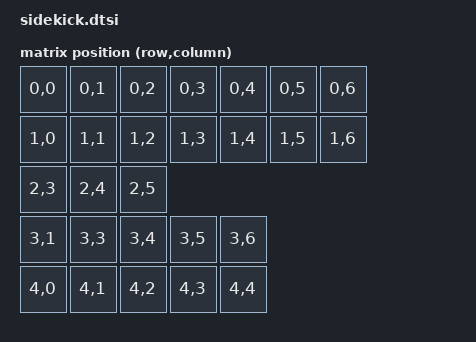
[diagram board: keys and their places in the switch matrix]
#include <dt-bindings/zmk/matrix_transform.h> // Put this with the other includes at the top of your overlay
#include "sidekick-layouts.dtsi"

&physical_layout0 {
    kscan = <&kscan0>;
    transform = <&default_transform>;
};

/ {
    default_transform: keymap_transform0 {
        compatible = "zmk,matrix-transform";
        columns = <7>; // Length of the "col-gpios" array
        rows = <5>; // Length of the "row-gpios" array
        map = <
        //   Key 1 | Key 2 | Key 3 | Key 4 | Key 5 | Key 6 | Key 7
            RC(0,0) RC(0,1) RC(0,2) RC(0,3) RC(0,4) RC(0,5) RC(0,6)
        //   Key 8 | Key 9 | Key 10 | Key 11 | Key 12 | Key 13 | Key 14
            RC(1,0) RC(1,1) RC(1,2) RC(1,3) RC(1,4) RC(1,5) RC(1,6)
        //   Key 15 | Key 16 | Key 17
            RC(2,3) RC(2,4) RC(2,5)
       //   Key 18 | Key 19 | Key 20 | Key 21 | Key 22
            RC(3,1) RC(3,3) RC(3,4) RC(3,5) RC(3,6)
        //   Key 23 | Key 24 | Key 25 | Key 26 | Key 27
            RC(4,0) RC(4,1) RC(4,2) RC(4,3) RC(4,4)
        >;
    };
};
